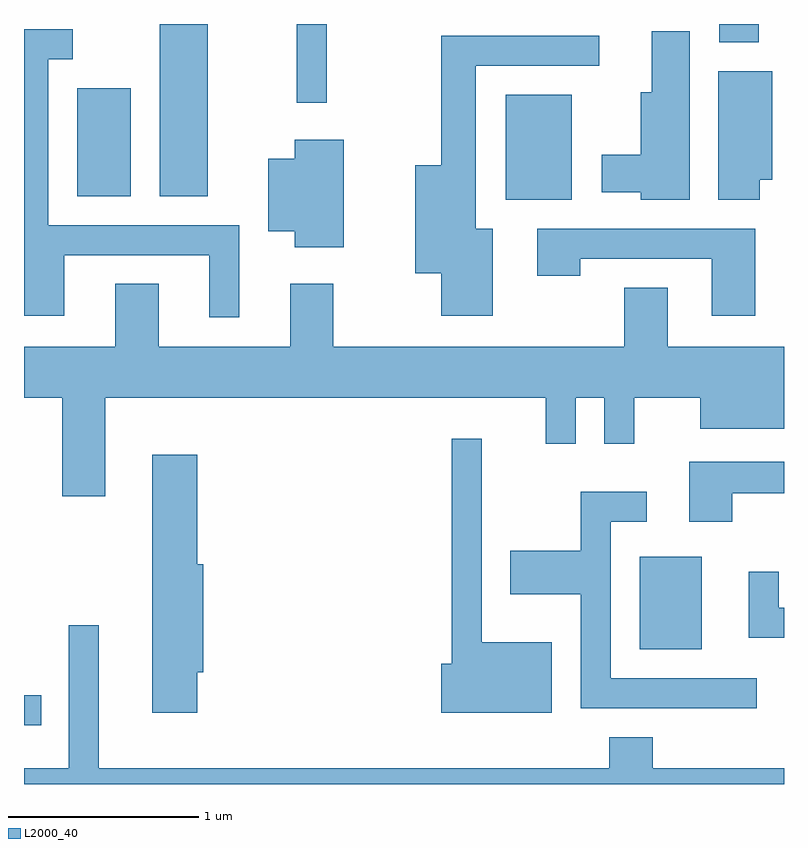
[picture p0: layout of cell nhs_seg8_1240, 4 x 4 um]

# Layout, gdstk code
import gdstk
lib = gdstk.Library(unit=1e-6, precision=1e-09)
def R(c, l, rs):  # rectangles x0, y0, x1, y1
    for r in rs: c.add(gdstk.rectangle(r[:2], r[2:], *l))
def P(c, l, *ps):  # polygons
    for p in ps: c.add(gdstk.Polygon(p, *l))
L2000_40 = (2000, 40)

nhs_seg8_1240 = lib.new_cell('nhs_seg8_1240')
R(nhs_seg8_1240, L2000_40, [(221.611,1874.651,221.703,1874.809), (224.851,1875.051,225.179,1875.539), (224.146,1877.416,224.494,1877.969), (221.891,1877.436,222.174,1878.004), (222.326,1877.436,222.579,1878.342), (223.046,1877.928,223.204,1878.342), (225.271,1878.246,225.479,1878.342)])
P(nhs_seg8_1240, L2000_40, [(222.744,1877.284),(221.739,1877.284),(221.739,1878.156),(221.868,1878.156),(221.868,1878.314),(221.611,1878.314),(221.611,1876.806),(221.824,1876.806),(221.824,1877.126),(222.586,1877.126),(222.586,1876.798),(222.744,1876.798)],
  [(225.114,1878.304),(224.916,1878.304),(224.916,1877.984),(224.856,1877.984),(224.856,1877.654),(224.651,1877.654),(224.651,1877.456),(224.856,1877.456),(224.856,1877.416),(225.114,1877.416)],
  [(224.079,1877.264),(223.989,1877.264),(223.989,1878.121),(224.638,1878.121),(224.638,1878.279),(223.806,1878.279),(223.806,1877.599),(223.671,1877.599),(223.671,1877.031),(223.806,1877.031),(223.806,1876.806),(224.079,1876.806)],
  [(225.484,1877.521),(225.549,1877.521),(225.549,1878.094),(225.266,1878.094),(225.266,1877.416),(225.484,1877.416)],
  [(223.294,1877.734),(223.036,1877.734),(223.036,1877.634),(222.896,1877.634),(222.896,1877.251),(223.036,1877.251),(223.036,1877.166),(223.294,1877.166)],
  [(225.459,1877.264),(224.311,1877.264),(224.311,1877.016),(224.539,1877.016),(224.539,1877.106),(225.231,1877.106),(225.231,1876.806),(225.459,1876.806)],
  [(222.039,1876.376),(224.356,1876.376),(224.356,1876.133),(224.514,1876.133),(224.514,1876.376),(224.666,1876.376),(224.666,1876.133),(224.824,1876.133),(224.824,1876.376),(225.171,1876.376),(225.171,1876.211),(225.611,1876.211),(225.611,1876.644),(224.999,1876.644),(224.999,1876.954),(224.771,1876.954),(224.771,1876.644),(223.239,1876.644),(223.239,1876.974),(223.011,1876.974),(223.011,1876.644),(222.319,1876.644),(222.319,1876.974),(222.091,1876.974),(222.091,1876.644),(221.611,1876.644),(221.611,1876.376),(221.811,1876.376),(221.811,1875.856),(222.039,1875.856)],
  [(224.389,1875.089),(224.019,1875.089),(224.019,1876.158),(223.861,1876.158),(223.861,1874.974),(223.806,1874.974),(223.806,1874.716),(224.389,1874.716)],
  [(222.524,1874.931),(222.554,1874.931),(222.554,1875.499),(222.524,1875.499),(222.524,1876.074),(222.286,1876.074),(222.286,1874.716),(222.524,1874.716)],
  [(225.339,1875.871),(225.611,1875.871),(225.611,1876.039),(225.111,1876.039),(225.111,1875.721),(225.339,1875.721)],
  [(225.468,1874.899),(224.699,1874.899),(224.699,1875.721),(224.888,1875.721),(224.888,1875.879),(224.541,1875.879),(224.541,1875.569),(224.171,1875.569),(224.171,1875.341),(224.541,1875.341),(224.541,1874.741),(225.468,1874.741)],
  [(225.611,1875.269),(225.584,1875.269),(225.584,1875.458),(225.426,1875.458),(225.426,1875.111),(225.611,1875.111)],
  [(225.611,1874.424),(224.919,1874.424),(224.919,1874.589),(224.691,1874.589),(224.691,1874.424),(222.004,1874.424),(222.004,1875.178),(221.846,1875.178),(221.846,1874.424),(221.611,1874.424),(221.611,1874.342),(225.611,1874.342)])

lib.write_gds('nhs_seg8_1240.gds')
